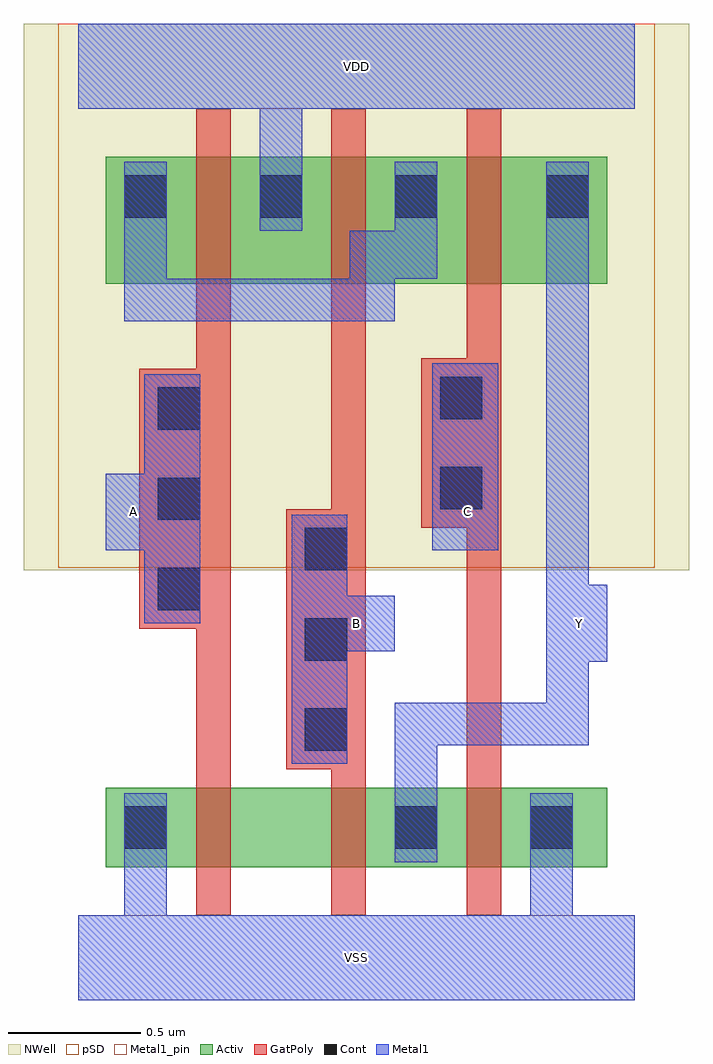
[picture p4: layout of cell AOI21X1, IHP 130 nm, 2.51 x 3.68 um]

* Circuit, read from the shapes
.subckt AOI21X1 A B C VDD VSS Y
XM1 n1 A VSS VSUBS sg13_lv_nmos w=0.3u l=0.13u
XM2 Y B n1 VSUBS sg13_lv_nmos w=0.3u l=0.13u
XM3 VSS C Y VSUBS sg13_lv_nmos w=0.3u l=0.13u
XM4 VDD A n2 n3 sg13_lv_pmos w=0.48u l=0.13u
XM5 n2 B VDD n3 sg13_lv_pmos w=0.48u l=0.13u
XM6 Y C n2 n3 sg13_lv_pmos w=0.48u l=0.13u
.ends

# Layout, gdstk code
import gdstk
lib = gdstk.Library(unit=1e-6, precision=1e-09)
def R(c, l, rs):  # rectangles x0, y0, x1, y1
    for r in rs: c.add(gdstk.rectangle(r[:2], r[2:], *l))
def A(c, l, x, y, w, h, nx, ny, dx, dy):  # array of equal rectangles
    R(c, l, [(x+i*dx, y+j*dy, x+i*dx+w, y+j*dy+h) for i in range(nx) for j in range(ny)])
def P(c, l, *ps):  # polygons
    for p in ps: c.add(gdstk.Polygon(p, *l))
Activ = (1, 0)
GatPoly = (5, 0)
Cont = (6, 0)
Metal1 = (8, 0)
Metal1_pin = (8, 2)
pSD = (14, 0)
NWell = (31, 0)

aoi21x1 = lib.new_cell('AOI21X1')
R(aoi21x1, Activ, [(0.105,0.34,1.995,0.64), (0.105,2.54,1.995,3.02)])
P(aoi21x1, GatPoly, [(1.595,3.2),(1.465,3.2),(1.465,2.26),(1.295,2.26),(1.295,1.62),(1.465,1.62),(1.465,0.16),(1.595,0.16)],
  [(1.085,3.2),(0.955,3.2),(0.955,1.69),(0.785,1.69),(0.785,0.71),(0.955,0.71),(0.955,0.16),(1.085,0.16)],
  [(0.575,3.2),(0.445,3.2),(0.445,2.22),(0.23,2.22),(0.23,1.24),(0.445,1.24),(0.445,0.16),(0.575,0.16)])
A(aoi21x1, Cont, 0.855, 0.78, 0.16, 0.16, 1, 3, 0, 0.34)
A(aoi21x1, Cont, 0.3, 1.31, 0.16, 0.16, 1, 3, 0, 0.34)
A(aoi21x1, Cont, 0.175, 2.79, 0.16, 0.16, 3, 1, 0.51, 0)
R(aoi21x1, Cont, [(0.175,0.41,0.335,0.57), (1.195,0.41,1.355,0.57), (1.705,0.41,1.865,0.57), (1.365,1.69,1.525,1.85), (1.365,2.03,1.525,2.19), (1.765,2.79,1.925,2.95)])
R(aoi21x1, Metal1, [(1.335,1.535,1.585,2.24)])
P(aoi21x1, Metal1, [(2.1,0.16),(1.865,0.16),(1.865,0.62),(1.705,0.62),(1.705,0.16),(0.335,0.16),(0.335,0.62),(0.175,0.62),(0.175,0.16),(0,0.16),(0,-0.16),(2.1,-0.16)],
  [(2.1,3.52),(0,3.52),(0,3.2),(0.685,3.2),(0.685,2.74),(0.845,2.74),(0.845,3.2),(2.1,3.2)],
  [(1.995,1.405),(1.925,1.405),(1.925,3),(1.765,3),(1.765,0.96),(1.195,0.96),(1.195,0.36),(1.355,0.36),(1.355,0.8),(1.925,0.8),(1.925,1.115),(1.995,1.115)],
  [(1.355,3),(1.195,3),(1.195,2.74),(1.025,2.74),(1.025,2.56),(0.335,2.56),(0.335,3),(0.175,3),(0.175,2.4),(1.195,2.4),(1.195,2.56),(1.355,2.56)],
  [(1.195,1.365),(1.015,1.365),(1.015,1.67),(0.805,1.67),(0.805,0.73),(1.015,0.73),(1.015,1.155),(1.195,1.155)],
  [(0.46,2.2),(0.25,2.2),(0.25,1.825),(0.105,1.825),(0.105,1.535),(0.25,1.535),(0.25,1.26),(0.46,1.26)])
R(aoi21x1, Metal1_pin, [(0,-0.16,2.1,0.16), (1.335,1.535,1.585,2.24), (0,3.2,2.1,3.52)])
P(aoi21x1, Metal1_pin, [(1.995,1.405),(1.925,1.405),(1.925,3),(1.765,3),(1.765,0.96),(1.195,0.96),(1.195,0.36),(1.355,0.36),(1.355,0.8),(1.925,0.8),(1.925,1.115),(1.995,1.115)],
  [(1.195,1.365),(1.015,1.365),(1.015,1.67),(0.805,1.67),(0.805,0.73),(1.015,0.73),(1.015,1.155),(1.195,1.155)],
  [(0.46,2.2),(0.25,2.2),(0.25,1.825),(0.105,1.825),(0.105,1.535),(0.25,1.535),(0.25,1.26),(0.46,1.26)])
R(aoi21x1, pSD, [(-0.075,1.47,2.175,3.52)])
R(aoi21x1, NWell, [(-0.205,1.46,2.305,3.52)])
aoi21x1.add(gdstk.Label('A', (0.21,1.68), layer=8, texttype=25))
aoi21x1.add(gdstk.Label('Y', (1.89,1.26), layer=8, texttype=25))
aoi21x1.add(gdstk.Label('B', (1.05,1.26), layer=8, texttype=25))
aoi21x1.add(gdstk.Label('VSS', (1.05,0), layer=8, texttype=25))
aoi21x1.add(gdstk.Label('C', (1.47,1.68), layer=8, texttype=25))
aoi21x1.add(gdstk.Label('VDD', (1.05,3.36), layer=8, texttype=25))

lib.write_gds('AOI21X1.gds')
